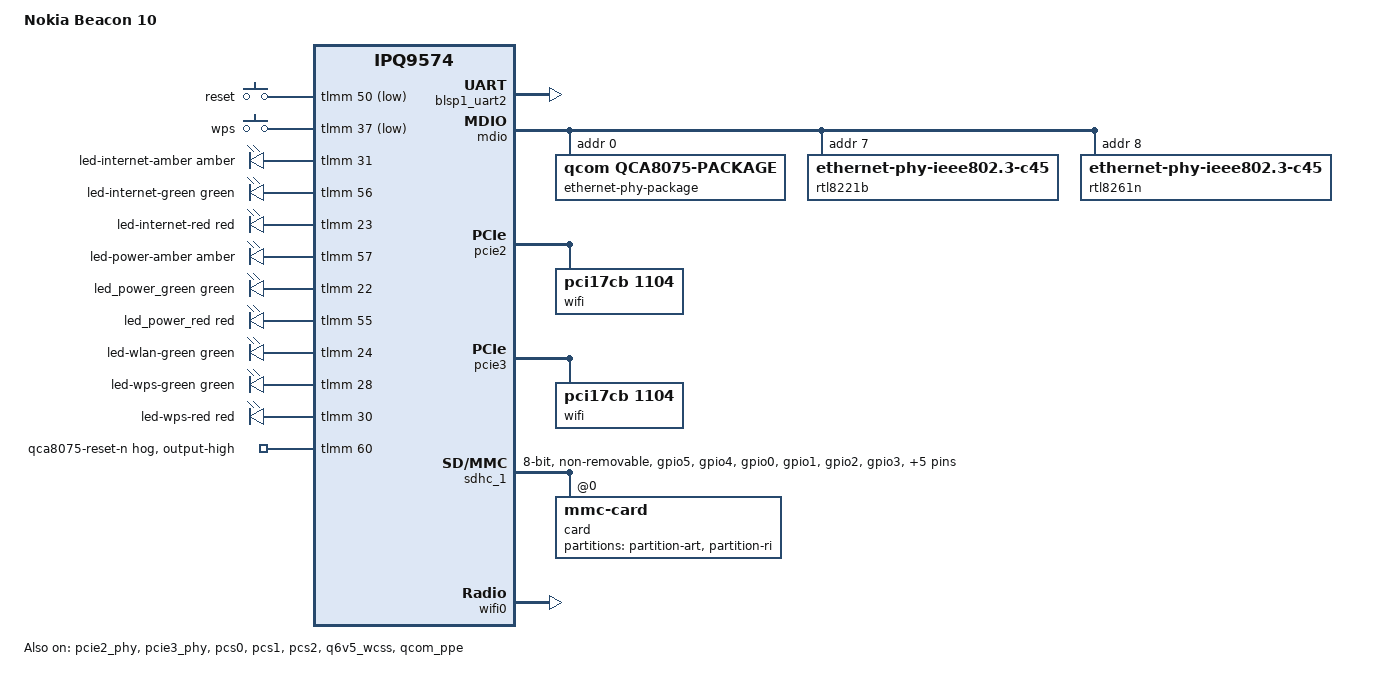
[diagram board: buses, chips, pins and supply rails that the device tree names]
// SPDX-License-Identifier: (GPL-2.0+ OR BSD-3-Clause)

/dts-v1/;

#include "ipq9574.dtsi"
#include <dt-bindings/gpio/gpio.h>
#include <dt-bindings/input/input.h>
#include <dt-bindings/leds/common.h>

/ {
	model = "Nokia Beacon 10";
	compatible = "nokia,beacon-10", "qcom,ipq9574";

	aliases {
		led-boot = &led_power_green;
		led-failsafe = &led_power_red;
		led-running = &led_power_green;
		led-upgrade = &led_power_red;
		serial0 = &blsp1_uart2;
	};

	chosen {
		bootargs = "console=ttyMSM0,115200n8";
		stdout-path = "serial0:115200n8";
	};

	gpio-keys {
		compatible = "gpio-keys";
		pinctrl-0 = <&keys_pins>;
		pinctrl-names = "default";

		reset {
			label = "reset";
			linux,code = <KEY_RESTART>;
			gpios = <&tlmm 50 GPIO_ACTIVE_LOW>;
			debounce-interval = <30>;
		};

		wps {
			label = "wps";
			linux,code = <KEY_WPS_BUTTON>;
			gpios = <&tlmm 37 GPIO_ACTIVE_LOW>;
			debounce-interval = <30>;
		};
	};

	leds {
		compatible = "gpio-leds";
		pinctrl-0 = <&leds_pins>;
		pinctrl-names = "default";

		led-internet-amber {
			color = <LED_COLOR_ID_AMBER>;
			function = LED_FUNCTION_WAN;
			gpios = <&tlmm 31 GPIO_ACTIVE_HIGH>;
		};

		led-internet-green {
			color = <LED_COLOR_ID_GREEN>;
			function = LED_FUNCTION_WAN;
			gpios = <&tlmm 56 GPIO_ACTIVE_HIGH>;
		};

		led-internet-red {
			color = <LED_COLOR_ID_RED>;
			function = LED_FUNCTION_WAN;
			gpios = <&tlmm 23 GPIO_ACTIVE_HIGH>;
		};

		led-power-amber {
			color = <LED_COLOR_ID_AMBER>;
			function = LED_FUNCTION_POWER;
			gpios = <&tlmm 57 GPIO_ACTIVE_HIGH>;
		};

		led_power_green: led-power-green {
			color = <LED_COLOR_ID_GREEN>;
			function = LED_FUNCTION_POWER;
			gpios = <&tlmm 22 GPIO_ACTIVE_HIGH>;
			default-state = "on";
		};

		led_power_red: led-power-red {
			color = <LED_COLOR_ID_RED>;
			function = LED_FUNCTION_POWER;
			gpios = <&tlmm 55 GPIO_ACTIVE_HIGH>;
		};

		led-wlan-green {
			color = <LED_COLOR_ID_GREEN>;
			function = LED_FUNCTION_WLAN;
			gpios = <&tlmm 24 GPIO_ACTIVE_HIGH>;
		};

		led-wps-green {
			color = <LED_COLOR_ID_GREEN>;
			function = LED_FUNCTION_WPS;
			gpios = <&tlmm 28 GPIO_ACTIVE_HIGH>;
		};

		led-wps-red {
			color = <LED_COLOR_ID_RED>;
			function = LED_FUNCTION_WPS;
			gpios = <&tlmm 30 GPIO_ACTIVE_HIGH>;
		};
	};

	reserved-memory {
		tzapp@49b00000 {
			reg = <0x0 0x49b00000 0x0 0x00600000>;
			no-map;
		};
	};
};

&blsp1_uart2 {
	pinctrl-0 = <&uart2_pins>;
	pinctrl-names = "default";
	status = "okay";
};

&mdio {
	status = "okay";

	ethernet-phy-package@0 {
		compatible = "qcom,qca8075-package";
		#address-cells = <1>;
		#size-cells = <0>;
		reg = <0>;
		qcom,package-mode = "qsgmii";

		qca8075_0: ethernet-phy@0 {
			compatible = "ethernet-phy-ieee802.3-c22";
			reg = <0>;
		};

		qca8075_1: ethernet-phy@1 {
			compatible = "ethernet-phy-ieee802.3-c22";
			reg = <1>;
		};

		qca8075_2: ethernet-phy@2 {
			compatible = "ethernet-phy-ieee802.3-c22";
			reg = <2>;
		};

		qca8075_3: ethernet-phy@3 {
			compatible = "ethernet-phy-ieee802.3-c22";
			reg = <3>;
		};
	};

	rtl8221b: ethernet-phy@7 {
		compatible = "ethernet-phy-ieee802.3-c45";
		reg = <7>;
	};

	rtl8261n: ethernet-phy@8 {
		compatible = "ethernet-phy-ieee802.3-c45";
		reg = <8>;
	};
};

&pcie2 {
	perst-gpios = <&tlmm 29 GPIO_ACTIVE_LOW>;
	status = "okay";

	pcie@0 {
		device_type = "pci";
		reg = <0 0 0 0 0>;
		#address-cells = <3>;
		#size-cells = <2>;
		ranges;

		wifi@0,0 {
			compatible = "pci17cb,1104";
			reg = <0x00010000 0 0 0 0>;
			qcom,calibration-variant = "Nokia-Beacon-10-5G";
			nvmem-cells = <&caldata_5g>, <&macaddr_ri 10>;
			nvmem-cell-names = "calibration", "mac-address";
		};
	};
};

&pcie2_phy {
	status = "okay";
};

&pcie3 {
	perst-gpios = <&tlmm 32 GPIO_ACTIVE_LOW>;
	status = "okay";

	pcie@0 {
		device_type = "pci";
		reg = <0 0 0 0 0>;
		#address-cells = <3>;
		#size-cells = <2>;
		ranges;

		wifi@0,0 {
			compatible = "pci17cb,1104";
			reg = <0x00010000 0 0 0 0>;
			qcom,calibration-variant = "Nokia-Beacon-10-6G";
			nvmem-cells = <&caldata_6g>, <&macaddr_ri 12>;
			nvmem-cell-names = "calibration", "mac-address";
		};
	};
};

&pcie3_phy {
	status = "okay";
};

&pcs0 {
	status = "okay";
};

&pcs1 {
	status = "okay";
};

&pcs2 {
	status = "okay";
};

&q6v5_wcss {
	status = "okay";
};

&qcom_ppe {
	status = "okay";

	ethernet-ports {
		#address-cells = <1>;
		#size-cells = <0>;

		port@1 {
			reg = <1>;
			phy-mode = "qsgmii";
			phy-handle = <&qca8075_0>;
			pcs-handle = <&pcs0_ch0>;
			managed = "in-band-status";
			label = "lan3";
			nvmem-cells = <&macaddr_ri 4>;
			nvmem-cell-names = "mac-address";
			clocks = <&nsscc NSS_CC_PORT1_MAC_CLK>,
				 <&nsscc NSS_CC_PORT1_RX_CLK>,
				 <&nsscc NSS_CC_PORT1_TX_CLK>;
			clock-names = "mac", "rx", "tx";
			resets = <&nsscc PORT1_MAC_ARES>,
				 <&nsscc PORT1_RX_ARES>,
				 <&nsscc PORT1_TX_ARES>;
			reset-names = "mac", "rx", "tx";
		};

		port@2 {
			reg = <2>;
			phy-mode = "qsgmii";
			phy-handle = <&qca8075_1>;
			pcs-handle = <&pcs0_ch1>;
			managed = "in-band-status";
			label = "lan2";
			nvmem-cells = <&macaddr_ri 3>;
			nvmem-cell-names = "mac-address";
			clocks = <&nsscc NSS_CC_PORT2_MAC_CLK>,
				 <&nsscc NSS_CC_PORT2_RX_CLK>,
				 <&nsscc NSS_CC_PORT2_TX_CLK>;
			clock-names = "mac", "rx", "tx";
			resets = <&nsscc PORT2_MAC_ARES>,
				 <&nsscc PORT2_RX_ARES>,
				 <&nsscc PORT2_TX_ARES>;
			reset-names = "mac", "rx", "tx";
		};

		port@5 {
			reg = <5>;
			phy-mode = "2500base-x";
			phy-handle = <&rtl8221b>;
			pcs-handle = <&pcs1_ch0>;
			label = "lan1";
			nvmem-cells = <&macaddr_ri 2>;
			nvmem-cell-names = "mac-address";
			clocks = <&nsscc NSS_CC_PORT5_MAC_CLK>,
				 <&nsscc NSS_CC_PORT5_RX_CLK>,
				 <&nsscc NSS_CC_PORT5_TX_CLK>;
			clock-names = "mac", "rx", "tx";
			resets = <&nsscc PORT5_MAC_ARES>,
				 <&nsscc PORT5_RX_ARES>,
				 <&nsscc PORT5_TX_ARES>;
			reset-names = "mac", "rx", "tx";
		};

		port@6 {
			reg = <6>;
			phy-mode = "usxgmii";
			phy-handle = <&rtl8261n>;
			pcs-handle = <&pcs2_ch0>;
			managed = "in-band-status";
			label = "wan";
			nvmem-cells = <&macaddr_ri 1>;
			nvmem-cell-names = "mac-address";
			clocks = <&nsscc NSS_CC_PORT6_MAC_CLK>,
				 <&nsscc NSS_CC_PORT6_RX_CLK>,
				 <&nsscc NSS_CC_PORT6_TX_CLK>;
			clock-names = "mac", "rx", "tx";
			resets = <&nsscc PORT6_MAC_ARES>,
				 <&nsscc PORT6_RX_ARES>,
				 <&nsscc PORT6_TX_ARES>;
			reset-names = "mac", "rx", "tx";
		};
	};
};

&ref_48mhz_clk {
	clock-div = <1>;
	clock-mult = <1>;
};

&rpm_requests {
	regulators {
		compatible = "qcom,rpm-mp5496-regulators";

		ipq9574_s1: s1 {
			regulator-min-microvolt = <725000>;
			regulator-max-microvolt = <1075000>;
		};
	};
};

&sdhc_1 {
	#address-cells = <1>;
	#size-cells = <0>;	bus-width = <8>;
	max-frequency = <96000000>;
	mmc-ddr-1_8v;
	mmc-hs200-1_8v;
	non-removable;
	pinctrl-0 = <&sdc_default_state>;
	pinctrl-names = "default";
	status = "okay";

	card@0 {
		compatible = "mmc-card";
		reg = <0>;

		partitions {
			compatible = "gpt-partitions";

			partition-art {
				partname = "0:ART";

				nvmem-layout {
					compatible = "fixed-layout";
					#address-cells = <1>;
					#size-cells = <1>;

					caldata_2g: calibration@1000 {
						reg = <0x1000 0x20000>;
					};

					caldata_5g: calibration@26800 {
						reg = <0x26800 0x20000>;
					};

					caldata_6g: calibration@4c000 {
						reg = <0x4c000 0x20000>;
					};
				};
			};

			partition-ri {
				partname = "RI";

				nvmem-layout {
					compatible = "fixed-layout";
					#address-cells = <1>;
					#size-cells = <1>;

					macaddr_ri: mac-address@440 {
						compatible = "mac-base";
						reg = <0x440 0x11>;
						#nvmem-cell-cells = <1>;
					};
				};
			};
		};
	};
};

&sleep_clk {
	clock-frequency = <32000>;
};

&tlmm {
	keys_pins: keys-state {
		pins = "gpio37", "gpio50";
		function = "gpio";
		drive-strength = <8>;
		bias-pull-up;
	};

	leds_pins: leds-state {
		pins = "gpio22", "gpio23", "gpio24", "gpio28",
		       "gpio30", "gpio31", "gpio55", "gpio56", "gpio57";
		function = "gpio";
		drive-strength = <8>;
		bias-pull-down;
	};

	/* Release the shared active-low package reset before MDIO enumeration. */
	qca8075-reset-hog {
		gpio-hog;
		gpios = <60 GPIO_ACTIVE_HIGH>;
		output-high;
		line-name = "qca8075-reset-n";
	};

	sdc_default_state: sdc-default-state {
		clk-pins {
			pins = "gpio5";
			function = "sdc_clk";
			drive-strength = <8>;
			bias-disable;
		};

		cmd-pins {
			pins = "gpio4";
			function = "sdc_cmd";
			drive-strength = <8>;
			bias-pull-up;
		};

		data-pins {
			pins = "gpio0", "gpio1", "gpio2", "gpio3",
			       "gpio6", "gpio7", "gpio8", "gpio9";
			function = "sdc_data";
			drive-strength = <8>;
			bias-pull-up;
		};

		rclk-pins {
			pins = "gpio10";
			function = "sdc_rclk";
			drive-strength = <8>;
			bias-pull-down;
		};
	};
};

&wifi0 {
	qcom,calibration-variant = "Nokia-Beacon-10";
	nvmem-cells = <&caldata_2g>, <&macaddr_ri 9>;
	nvmem-cell-names = "calibration", "mac-address";
	status = "okay";
};

&xo_board_clk {
	clock-div = <2>;
	clock-mult = <1>;
};

&xo_clk {
	clock-frequency = <48000000>;
};
